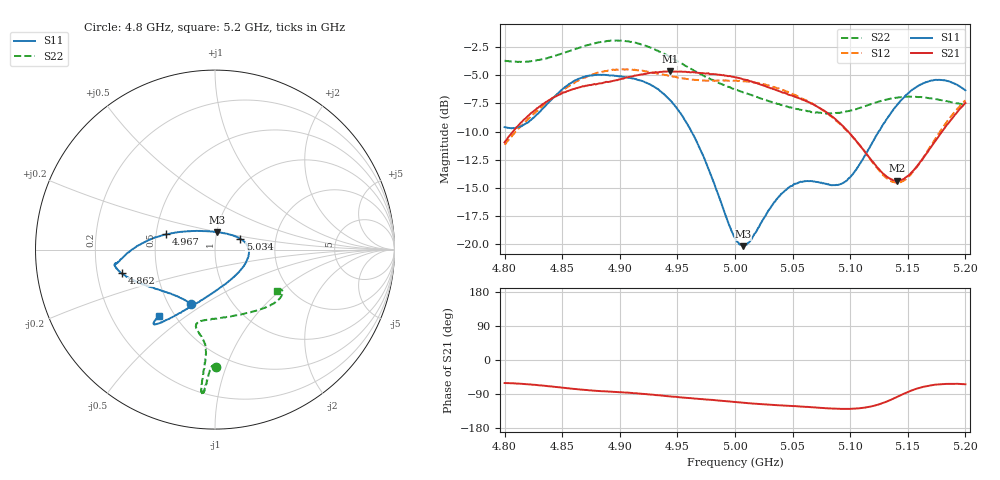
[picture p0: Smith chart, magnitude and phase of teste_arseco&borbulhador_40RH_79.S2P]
! Network Analyzer HP8722D
! Hewlett-Packard
! Data name: Linha & Wilkinson
! Saver's name: Rodrigo Anjos
! Comments: Teste da utilização de aquisição
! continua pelo VNA HP8722D
! Time and date: 15/4/2025 17:00
!  Frequency  S11  S21  S12  S22
# HZ  S  MA R 50
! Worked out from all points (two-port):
!   401 points, 4.8 GHz to 5.2 GHz, reference 50 ohm
!   highest |S21| = -4.62 dB at 4.944 GHz (marker M1); lowest = -14.4 dB at 5.141 GHz (marker M2)
!   |S21| within 3 dB of the highest: 4.832 GHz to 5.069 GHz (236.5 MHz wide, 4.78 % of centre); 5.198482 GHz to end of sweep
!   lowest |S11| = -20.2 dB at 5.007 GHz (marker M3), VSWR 1.22, Z = 50.3 + j9.83 ohm
!   |S11| at or under -10 dB: 4.962 GHz to 5.125 GHz (162.6 MHz wide, 3.22 % of centre)
!   |S22| runs from -8.4 to -1.9 dB; largest |S21 - S12| = 0.88
!   S11 on the Smith chart (normalised r, x): 4.8 GHz: 0.65, -0.44; 4.862 GHz: 0.31, -0.11; 4.967 GHz: 0.57, +0.11; 5.034 GHz: 1.31, +0.17; 5.2 GHz: 0.41, -0.40
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4.8e9  0.3308 -113.7  0.2831 -60.8  0.2762 -175.0  0.6541 -89.5
4.819e9  0.3448 -133.6  0.3656 -63.9  0.3533 -173.4  0.6483 -91.2
4.862e9  0.5363 -165.8  0.4934 -76.8  0.5275 -176.4  0.7393 -93.5
4.867e9  0.55 -167.6  0.5009 -78.2  0.5437 -177.3  0.7532 -93.8
4.901e9  0.5571 -172.1  0.5421 -85.0  0.5975 175.4  0.804 -95.2
4.934e9  0.4847 -178.0  0.5816 -93.4  0.5724 172.0  0.7187 -95.5
4.944e9  0.435 177.4  0.5873 -96.2  0.5578 171.9  0.6782 -95.4
4.967e9  0.2836 162.5  0.5785 -102.1  0.5367 174.1  0.5803 -94.9
5e9  0.1062 106.7  0.5515 -111.0  0.5324 176.4  0.4869 -99.3
5.007e9  0.09757 82.9  0.5397 -112.8  0.5295 176.4  0.4726 -100.9
5.014e9  0.1041 60.7  0.5287 -114.8  0.527 176.3  0.4607 -102.6
5.034e9  0.153 23.6  0.4878 -118.9  0.4994 175.2  0.425 -104.0
5.05e9  0.1816 6.9  0.456 -121.6  0.4643 174.3  0.4033 -100.2
5.067e9  0.1901 -11.5  0.42 -124.7  0.4222 173.9  0.3857 -91.9
5.085e9  0.1825 -40.0  0.3665 -128.4  0.3647 173.8  0.3825 -78.5
5.097e9  0.1912 -65.2  0.3204 -129.0  0.3202 174.4  0.3884 -68.5
5.134e9  0.3739 -116.2  0.1955 -106.7  0.1916 -159.4  0.4419 -43.4
5.141e9  0.4169 -120.1  0.1908 -96.9  0.1873 -148.6  0.448 -40.2
5.153e9  0.4811 -125.0  0.2072 -80.7  0.2046 -129.9  0.452 -35.9
5.17e9  0.5326 -128.6  0.2686 -66.8  0.2732 -112.9  0.4447 -32.1
5.184e9  0.5315 -129.9  0.339 -63.1  0.3499 -107.2  0.4319 -31.1
5.2e9  0.4825 -130.4  0.4236 -64.0  0.4352 -106.1  0.4152 -33.4
